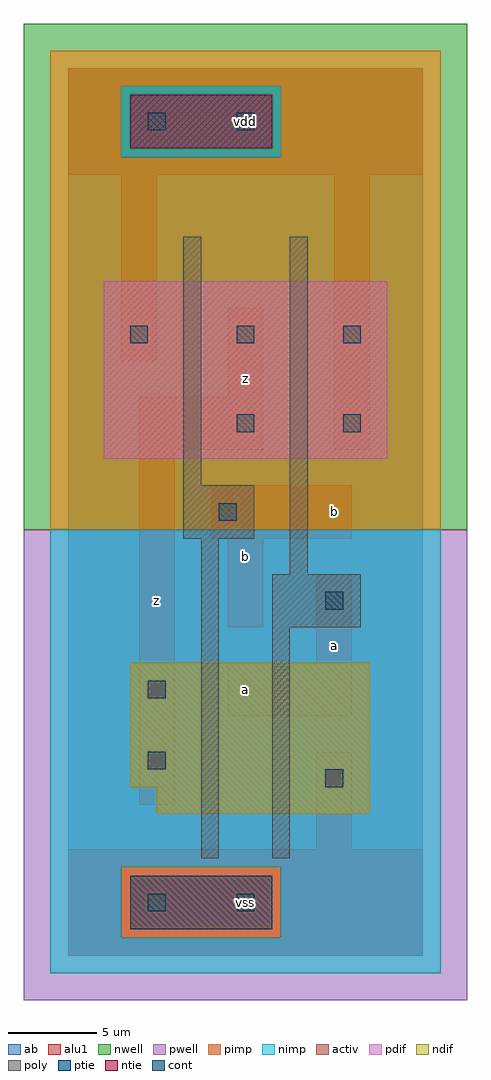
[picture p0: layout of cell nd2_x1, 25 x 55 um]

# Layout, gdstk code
import gdstk
lib = gdstk.Library(unit=1e-6, precision=1e-09)
def R(c, l, rs):  # rectangles x0, y0, x1, y1
    for r in rs: c.add(gdstk.rectangle(r[:2], r[2:], *l))
def A(c, l, x, y, w, h, nx, ny, dx, dy):  # array of equal rectangles
    R(c, l, [(x+i*dx, y+j*dy, x+i*dx+w, y+j*dy+h) for i in range(nx) for j in range(ny)])
ndif = (3, 0)
pdif = (4, 0)
ntie = (5, 0)
ptie = (6, 0)
cont = (25, 0)
pwell = (41, 0)
nwell = (42, 0)
activ = (43, 0)
pimp = (44, 0)
nimp = (45, 0)
poly = (46, 0)
alu1 = (49, 0)
ab = (63, 0)

nd2_x1 = lib.new_cell('nd2_x1')
R(nd2_x1, ndif, [(5,8,17,9.5), (3.5,9.5,17,16.5)])
R(nd2_x1, pdif, [(2,28,18,38)])
R(nd2_x1, ntie, [(3.5,45.5,11.5,48.5)])
R(nd2_x1, ptie, [(3.5,1.5,11.5,4.5)])
A(nd2_x1, cont, 3.5, 34.5, 1, 1, 3, 1, 6, 0)
R(nd2_x1, cont, [(4.5,2.5,5.5,3.5), (9.5,2.5,10.5,3.5), (14.5,9.5,15.5,10.5), (4.5,10.5,5.5,11.5), (4.5,14.5,5.5,15.5), (14.5,19.5,15.5,20.5), (8.5,24.5,9.5,25.5), (9.5,29.5,10.5,30.5), (15.5,29.5,16.5,30.5), (4.5,46.5,5.5,47.5), (9.5,46.5,10.5,47.5)])
R(nd2_x1, pwell, [(-2.5,-2.5,22.5,24)])
R(nd2_x1, nwell, [(-2.5,24,22.5,52.5)])
R(nd2_x1, activ, [(3.5,1.5,11.5,4.5), (5,8,17,9.5), (3.5,9.5,17,16.5), (2,28,18,38), (3.5,45.5,11.5,48.5)])
R(nd2_x1, pimp, [(3,1,12,5), (-1,24,21,45), (-1,45,3,49), (12,45,21,49), (-1,49,21,51)])
R(nd2_x1, nimp, [(-1,-1,21,1), (-1,1,3,5), (12,1,21,5), (-1,5,21,24), (3,45,12,49)])
R(nd2_x1, poly, [(7.5,5.5,8.5,23.5), (11.5,5.5,12.5,18.5), (11.5,18.5,16.5,21.5), (12.5,21.5,13.5,40.5), (6.5,23.5,10.5,26.5), (6.5,26.5,7.5,40.5)])
R(nd2_x1, alu1, [(0,0,20,6), (0,0,20,6), (14,6,16,11.5), (14,6,16,11.5), (4,8.5,6,28.5), (4,8.5,6,28.5), (9,13.5,16,16.5), (9,13.5,16,16.5), (14,16.5,16,21.5), (14,16.5,16,21.5), (9,18.5,11,23.5), (9,18.5,11,23.5), (8,23.5,16,26.5), (8,23.5,16,26.5), (4,28.5,11,31.5), (4,28.5,11,31.5), (15,28.5,17,44), (15,28.5,17,44), (9,31.5,11,36.5), (9,31.5,11,36.5), (3,33.5,5,44), (3,33.5,5,44), (0,44,20,50), (0,44,20,50)])
R(nd2_x1, ab, [(0,0,20,50)])
nd2_x1.add(gdstk.Label('z', (5,20), layer=49, texttype=0))
nd2_x1.add(gdstk.Label('vss', (10,3), layer=49, texttype=0))
nd2_x1.add(gdstk.Label('a', (10,15), layer=49, texttype=0))
nd2_x1.add(gdstk.Label('b', (10,22.5), layer=49, texttype=0))
nd2_x1.add(gdstk.Label('z', (10,32.5), layer=49, texttype=0))
nd2_x1.add(gdstk.Label('vdd', (10,47), layer=49, texttype=0))
nd2_x1.add(gdstk.Label('a', (15,17.5), layer=49, texttype=0))
nd2_x1.add(gdstk.Label('b', (15,25), layer=49, texttype=0))

lib.write_gds('nd2_x1.gds')
